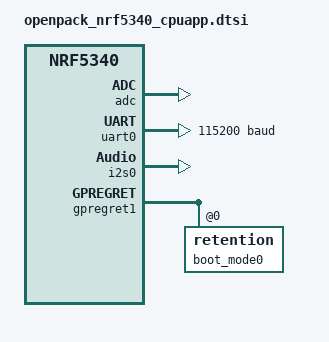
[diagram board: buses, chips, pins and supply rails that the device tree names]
/* OpenPack boards, nRF5340 application core: everything that is not a pin (#118).
 * Pins live only in the generated <board>_nrf5340_cpuapp-pins.dtsi (fw/boards/openpack/gen_pins.py, from the netlist).
 * Fanstel BT40NE / BT40E (ADR-0007, ADR-0021): 32 MHz and 32.768 kHz crystals and both DC/DC inductors are on the
 * module (Fanstel v1.09 p.26). VDD = VDDH = 3.3 V (normal-voltage mode, ADR-0012/0014), so REG0 (vregh) is unused.
 * No external QSPI flash on either board: &qspi stays disabled. MCUboot uses the internal 1 MB (FW-6).
 */
#include <nordic/nrf5340_cpuapp_qkaa.dtsi>
#include <zephyr/dt-bindings/adc/nrf-saadc.h>
#include <zephyr/dt-bindings/input/input-event-codes.h>

/ {
	chosen {
		zephyr,console = &uart0;
		zephyr,shell-uart = &uart0;
		zephyr,uart-mcumgr = &uart0;
		zephyr,sram = &sram0_image;
		zephyr,flash = &flash0;
		zephyr,code-partition = &slot0_partition;
		zephyr,sram-secure-partition = &sram0_s;
		zephyr,sram-non-secure-partition = &sram0_ns;
	};
};

&vregmain {
	regulator-initial-mode = <NRF5X_REG_MODE_DCDC>;
};

&vregradio {
	regulator-initial-mode = <NRF5X_REG_MODE_DCDC>;
};

/* LFXO: Fanstel does not state the 32.768 kHz load; the DK's 7 pF internal until the bench check (Phase 5). */
&lfxo {
	load-capacitors = "internal";
	load-capacitance-picofarad = <7>;
};

&adc {
	status = "okay";
};

&gpiote {
	status = "okay";
};

&gpio0 {
	status = "okay";
};

&gpio1 {
	status = "okay";
};

&uart0 {
	compatible = "nordic,nrf-uarte";
	status = "okay";
	current-speed = <115200>;
};

/* I2S0 pins come from pinctrl; firmware drives it through the nrfx HAL (fw/src/audio/op_audio_i2s.c), not the
 * Zephyr I2S driver (CONFIG_I2S stays off). "okay" so the nRF pinctrl driver handles the I2S PSEL functions.
 */
&i2s0 {
	status = "okay";
};

/* #25 `dfu`: the app sets this one retained byte and resets; MCUboot (serial recovery, fw/sysbuild/mcuboot.conf)
 * reads it. Same node as the nRF5340 DK. */
/ {
	chosen {
		zephyr,boot-mode = &boot_mode0;
	};
};

&gpregret1 {
	status = "okay";

	boot_mode0: boot_mode@0 {
		compatible = "zephyr,retention";
		status = "okay";
		reg = <0x0 0x1>;
	};
};

/* Default MCUboot layout: mcuboot 64 kB, slot0/slot1 464 kB each, storage 32 kB; SRAM split and IPC shared SRAM. */
#include <nordic/nrf5340_cpuapp_partition.dtsi>
